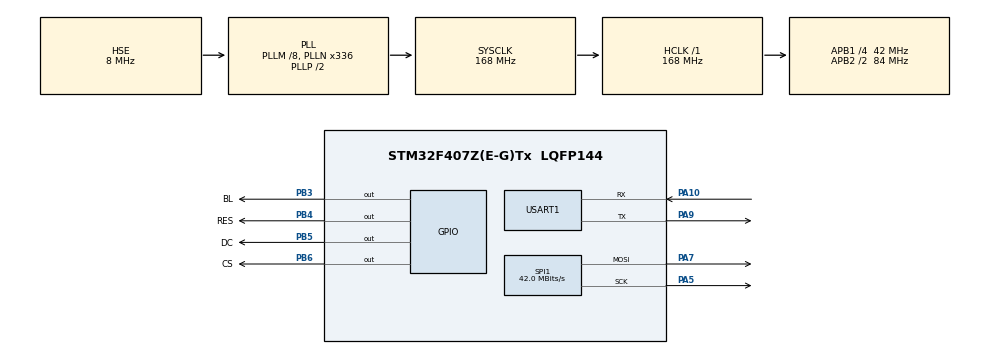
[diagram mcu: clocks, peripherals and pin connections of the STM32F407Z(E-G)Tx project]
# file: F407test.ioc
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Dma.Request0=USART1_RX
Dma.Request1=USART1_TX
Dma.USART1_RX.0.Direction=DMA_PERIPH_TO_MEMORY
Dma.USART1_RX.0.FIFOMode=DMA_FIFOMODE_DISABLE
Dma.USART1_RX.0.Instance=DMA2_Stream2
Dma.USART1_RX.0.MemDataAlignment=DMA_MDATAALIGN_BYTE
Dma.USART1_RX.0.MemInc=DMA_MINC_ENABLE
Dma.USART1_RX.0.Mode=DMA_CIRCULAR
Dma.USART1_RX.0.PeriphDataAlignment=DMA_PDATAALIGN_BYTE
Dma.USART1_RX.0.PeriphInc=DMA_PINC_DISABLE
Dma.USART1_RX.0.Priority=DMA_PRIORITY_LOW
Dma.USART1_TX.1.Direction=DMA_MEMORY_TO_PERIPH
Dma.USART1_TX.1.FIFOMode=DMA_FIFOMODE_DISABLE
Dma.USART1_TX.1.Instance=DMA2_Stream7
Dma.USART1_TX.1.MemDataAlignment=DMA_MDATAALIGN_BYTE
Dma.USART1_TX.1.MemInc=DMA_MINC_ENABLE
Dma.USART1_TX.1.Mode=DMA_NORMAL
Dma.USART1_TX.1.PeriphDataAlignment=DMA_PDATAALIGN_BYTE
Dma.USART1_TX.1.PeriphInc=DMA_PINC_DISABLE
Dma.USART1_TX.1.Priority=DMA_PRIORITY_LOW
Mcu.Family=STM32F4
Mcu.Name=STM32F407Z(E-G)Tx
Mcu.Package=LQFP144
NVIC.DMA2_Stream2_IRQn=true\:0\:0\:false\:false\:true\:false\:true\:true
NVIC.DMA2_Stream7_IRQn=true\:0\:0\:false\:false\:true\:false\:true\:true
NVIC.PriorityGroup=NVIC_PRIORITYGROUP_4
NVIC.USART1_IRQn=true\:0\:0\:false\:false\:true\:true\:true\:true
PA10.Mode=Asynchronous
PA10.Signal=USART1_RX
PA13.Mode=Serial_Wire
PA13.Signal=SYS_JTMS-SWDIO
PA14.Mode=Serial_Wire
PA14.Signal=SYS_JTCK-SWCLK
PA5.Mode=TX_Only_Simplex_Unidirect_Master
PA5.Signal=SPI1_SCK
PA7.Mode=TX_Only_Simplex_Unidirect_Master
PA7.Signal=SPI1_MOSI
PA9.Mode=Asynchronous
PA9.Signal=USART1_TX
PB3.GPIO_Label=BL
PB3.GPIO_PuPd=GPIO_PULLUP
PB3.GPIO_Speed=GPIO_SPEED_FREQ_HIGH
PB3.PinState=GPIO_PIN_SET
PB3.Signal=GPIO_Output
PB4.GPIO_Label=RES
PB4.GPIO_PuPd=GPIO_PULLUP
PB4.GPIO_Speed=GPIO_SPEED_FREQ_HIGH
PB4.PinState=GPIO_PIN_SET
PB4.Signal=GPIO_Output
PB5.GPIO_Label=DC
PB5.GPIO_PuPd=GPIO_PULLUP
PB5.GPIO_Speed=GPIO_SPEED_FREQ_HIGH
PB5.PinState=GPIO_PIN_SET
PB5.Signal=GPIO_Output
PB6.GPIO_Label=CS
PB6.GPIO_PuPd=GPIO_PULLUP
PB6.GPIO_Speed=GPIO_SPEED_FREQ_HIGH
PB6.PinState=GPIO_PIN_SET
PB6.Signal=GPIO_Output
PH0-OSC_IN.Mode=HSE-External-Oscillator
PH0-OSC_IN.Signal=RCC_OSC_IN
PH1-OSC_OUT.Mode=HSE-External-Oscillator
PH1-OSC_OUT.Signal=RCC_OSC_OUT
ProjectManager.HeapSize=0x200
ProjectManager.StackSize=0x400
ProjectManager.TargetToolchain=MDK-ARM V5.32
RCC.48MHZClocksFreq_Value=84000000
RCC.AHBFreq_Value=168000000
RCC.APB1CLKDivider=RCC_HCLK_DIV4
RCC.APB1Freq_Value=42000000
RCC.APB1TimFreq_Value=84000000
RCC.APB2CLKDivider=RCC_HCLK_DIV2
RCC.APB2Freq_Value=84000000
RCC.APB2TimFreq_Value=168000000
RCC.CortexFreq_Value=168000000
RCC.HCLKFreq_Value=168000000
RCC.HSE_VALUE=8000000
RCC.HSI_VALUE=16000000
RCC.LSE_VALUE=32768
RCC.PLLM=8
RCC.PLLN=336
RCC.PLLSourceVirtual=RCC_PLLSOURCE_HSE
RCC.SYSCLKFreq_VALUE=168000000
RCC.SYSCLKSource=RCC_SYSCLKSOURCE_PLLCLK
RCC.VCOOutputFreq_Value=336000000
SPI1.BaudRatePrescaler=SPI_BAUDRATEPRESCALER_2
SPI1.CalculateBaudRate=42.0 MBits/s
SPI1.Direction=SPI_DIRECTION_2LINES
SPI1.Mode=SPI_MODE_MASTER
SPI1.VirtualType=VM_MASTER
USART1.VirtualMode=VM_ASYNC
board=custom

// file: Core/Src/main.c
/* USER CODE BEGIN Header */
/**
  ******************************************************************************
  * @file           : main.c
  * @brief          : Main program body
  ******************************************************************************
  * @attention
  *
  * Copyright (c) 2025 STMicroelectronics.
  * All rights reserved.
  *
  * This software is licensed under terms that can be found in the LICENSE file
  * in the root directory of this software component.
  * If no LICENSE file comes with this software, it is provided AS-IS.
  *
  ******************************************************************************
  */
/* USER CODE END Header */
#include "main.h"
#include "dma.h"
#include "spi.h"
#include "usart.h"
#include "gpio.h"

/* USER CODE BEGIN Includes */
#include "stm32f4xx_it.h"
#include "string.h"
#include "QDTFT_demo.h"
#include "Lcd_Driver.h"
#include "GUI.h"
#include "image.h"
/* USER CODE END Includes */

void SystemClock_Config(void);

int main(void)
{

  /* MCU Configuration--------------------------------------------------------*/

  /* Reset of all peripherals, Initializes the Flash interface and the Systick. */
  HAL_Init();

  /* Configure the system clock */
  SystemClock_Config();

  /* Initialize all configured peripherals */
  MX_GPIO_Init();
  MX_DMA_Init();
  MX_USART1_UART_Init();
  MX_SPI1_Init();
  /* USER CODE BEGIN 2 */
	char* Data = "HelloSTMF407ZGT6\r\n";

  //__HAL_UART_ENABLE_IT(&huart1, UART_IT_IDLE);// 使能空闲中断
  //HAL_UART_Receive_DMA(&huart1, (uint8_t*)rx_buffer, sizeof(rx_buffer));// 启动DMA接收

	HAL_UARTEx_ReceiveToIdle_DMA (&huart1,(uint8_t*)rx_buffer,sizeof(rx_buffer));//一开始打开中断
	__HAL_DMA_DISABLE_IT(&hdma_usart1_rx, DMA_IT_HT);    //关闭DMA本身的半传输中断

	//__HAL_SPI_ENABLE(&hspi1);
	//SystemInit();	//System init.
	//Lcd_Init();
	Lcd_Init();
  /* USER CODE END 2 */

  /* Infinite loop */
  /* USER CODE BEGIN WHILE */
  while (1)
  {
		if(rx_flag == 1)
		{
			//等待上一次的数据发送完毕
			while(HAL_DMA_GetState(&hdma_usart1_tx) != HAL_DMA_STATE_READY);

			HAL_UART_Transmit_DMA(&huart1,(uint8_t*)rx_buffer,rx_length);
			rx_flag = 0;
		}
		//QDTFT_Test_Demo();
		printimage(gImage_image);
		//HAL_Delay(1000);
		/*这里不能用DMA发送，因为如果接收到消息，rx_flag被置1，这样就会出现连续两次调用DMA发送，这样是不允许的，除非在这次DMA发送的后面也放一个Delay，这样就能让两次DMA发送有间隔*/
		//HAL_UART_Transmit_DMA(&huart1,(uint8_t*)Data,strlen(Data));
    //HAL_Delay(1000);

    /* USER CODE END WHILE */

  }
}

void SystemClock_Config(void)
{
  RCC_OscInitTypeDef RCC_OscInitStruct = {0};
  RCC_ClkInitTypeDef RCC_ClkInitStruct = {0};

  /** Configure the main internal regulator output voltage
  */
  __HAL_RCC_PWR_CLK_ENABLE();
  __HAL_PWR_VOLTAGESCALING_CONFIG(PWR_REGULATOR_VOLTAGE_SCALE1);

  /** Initializes the RCC Oscillators according to the specified parameters
  * in the RCC_OscInitTypeDef structure.
  */
  RCC_OscInitStruct.OscillatorType = RCC_OSCILLATORTYPE_HSE;
  RCC_OscInitStruct.HSEState = RCC_HSE_ON;
  RCC_OscInitStruct.PLL.PLLState = RCC_PLL_ON;
  RCC_OscInitStruct.PLL.PLLSource = RCC_PLLSOURCE_HSE;
  RCC_OscInitStruct.PLL.PLLM = 8;
  RCC_OscInitStruct.PLL.PLLN = 336;
  RCC_OscInitStruct.PLL.PLLP = RCC_PLLP_DIV2;
  RCC_OscInitStruct.PLL.PLLQ = 4;
  if (HAL_RCC_OscConfig(&RCC_OscInitStruct) != HAL_OK)
  {
    Error_Handler();
  }

  /** Initializes the CPU, AHB and APB buses clocks
  */
  RCC_ClkInitStruct.ClockType = RCC_CLOCKTYPE_HCLK|RCC_CLOCKTYPE_SYSCLK
                              |RCC_CLOCKTYPE_PCLK1|RCC_CLOCKTYPE_PCLK2;
  RCC_ClkInitStruct.SYSCLKSource = RCC_SYSCLKSOURCE_PLLCLK;
  RCC_ClkInitStruct.AHBCLKDivider = RCC_SYSCLK_DIV1;
  RCC_ClkInitStruct.APB1CLKDivider = RCC_HCLK_DIV4;
  RCC_ClkInitStruct.APB2CLKDivider = RCC_HCLK_DIV2;

  if (HAL_RCC_ClockConfig(&RCC_ClkInitStruct, FLASH_LATENCY_5) != HAL_OK)
  {
    Error_Handler();
  }
}

void Error_Handler(void)
{
  __disable_irq();
  while (1)
  {
  }
}
